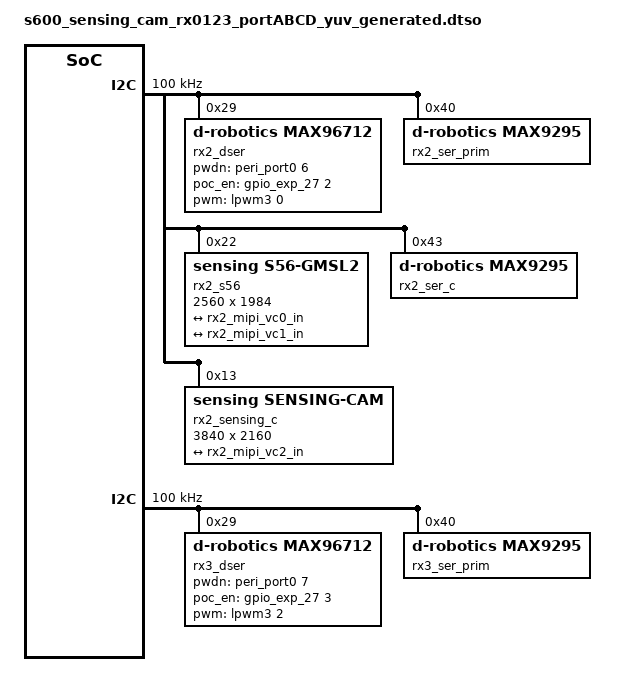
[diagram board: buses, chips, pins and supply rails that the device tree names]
// SPDX-License-Identifier: GPL-2.0
/*
 * D-Robotics S600: 16-channel sensing camera overlay
 *
 * RX0..RX3 each connect one MAX96712. Each MAX96712 uses Port A..D
 * and transports four YUV422 streams on VC0..VC3.
 *
 * RX1 board resources are inferred from the RX0/RX2/RX3 numbering pattern:
 *   PWDN peri_port0[5], PoC gpio_exp_27[1], PWM lpwm0 channel 2.
 * Verify these three assignments against the S600 MCB schematic before use.
 */

#include <dt-bindings/gpio/gpio.h>

/dts-v1/;
/plugin/;

/ {
	fragment@0 {
		target-path = "/soc/i2c@34840000/"; /* I2C0 */
		__overlay__ {
			status = "disabled";
			clock-frequency = <100000>;

			rx0_dser: rx0_max96712@29 {
				compatible = "d-robotics,max96712";
				reg = <0x29>;
				phy_type = <0>; /* D-PHY */
				phy_speed = <2500>; /* 2.5 Gbps per lane */
				sensing,trigger-period-ns = <33333333>;
				sensing,trigger-duty-ns = <10000>;
				pwdn-gpios = <&peri_port0 4 GPIO_ACTIVE_HIGH>;
				poc_en-gpios = <&gpio_exp_27 0 GPIO_ACTIVE_HIGH>;
				soc_trig_pin = <5>;
				pwms = <&lpwm0 0 33333000 20000>;
				pwm-names = "sync";
				trig_src = <0>;
				trig_mode = <1>;
				status = "okay";
			};

			rx0_ser_prim: rx0_max9295_prim@40 {
				compatible = "d-robotics,max9295";
				reg = <0x40>;
				is-prim-ser;
				rx_index = <0>;
				status = "okay";
			};

			rx0_ser_a: rx0_max9295_a@41 {
				compatible = "d-robotics,max9295";
				reg = <0x41>;
				link-port = <0>;
				rx_index = <0>;
				status = "okay";
			};

			rx0_sensing_a@11 {
				compatible = "sensing,sensing-cam";
				reg = <0x11>;
				addr = <0x10>;
				width = <3840>;
				height = <2160>;
				data_type = <0x1e>;
				gmsl-link-rate = <6>;
				lane_num = <4>;
				mfp-reset = <0>;
				mfp-trigger = <7>;
				d-robotics,serdes-ser-device = <&rx0_ser_a>;
				d-robotics,serdes-dser-device = <&rx0_dser>;
				status = "okay";

				port {
					rx0_sensor_a_out: endpoint {
						remote-endpoint = <&rx0_mipi_vc0_in>;
						virtual-channel = <0>;
					};
				};
			};

			rx0_ser_b: rx0_max9295_b@42 {
				compatible = "d-robotics,max9295";
				reg = <0x42>;
				link-port = <1>;
				rx_index = <0>;
				status = "okay";
			};

			rx0_sensing_b@12 {
				compatible = "sensing,sensing-cam";
				reg = <0x12>;
				addr = <0x10>;
				width = <1920>;
				height = <1080>;
				data_type = <0x1e>;
				gmsl-link-rate = <6>;
				lane_num = <4>;
				mfp-reset = <0>;
				mfp-trigger = <7>;
				d-robotics,serdes-ser-device = <&rx0_ser_b>;
				d-robotics,serdes-dser-device = <&rx0_dser>;
				status = "okay";

				port {
					rx0_sensor_b_out: endpoint {
						remote-endpoint = <&rx0_mipi_vc1_in>;
						virtual-channel = <1>;
					};
				};
			};

			rx0_ser_c: rx0_max9295_c@43 {
				compatible = "d-robotics,max9295";
				reg = <0x43>;
				link-port = <2>;
				rx_index = <0>;
				status = "okay";
			};

			rx0_sensing_c@13 {
				compatible = "sensing,sensing-cam";
				reg = <0x13>;
				addr = <0x10>;
				width = <1920>;
				height = <1536>;
				data_type = <0x1e>;
				gmsl-link-rate = <3>;
				lane_num = <4>;
				mfp-reset = <0>;
				mfp-trigger = <7>;
				d-robotics,serdes-ser-device = <&rx0_ser_c>;
				d-robotics,serdes-dser-device = <&rx0_dser>;
				status = "okay";

				port {
					rx0_sensor_c_out: endpoint {
						remote-endpoint = <&rx0_mipi_vc2_in>;
						virtual-channel = <2>;
					};
				};
			};

			rx0_ser_d: rx0_max9295_d@44 {
				compatible = "d-robotics,max9295";
				reg = <0x44>;
				link-port = <3>;
				rx_index = <0>;
				status = "okay";
			};

			rx0_sensing_d@14 {
				compatible = "sensing,sensing-cam";
				reg = <0x14>;
				addr = <0x10>;
				width = <1920>;
				height = <1080>;
				data_type = <0x1e>;
				gmsl-link-rate = <6>;
				lane_num = <4>;
				mfp-reset = <0>;
				mfp-trigger = <7>;
				d-robotics,serdes-ser-device = <&rx0_ser_d>;
				d-robotics,serdes-dser-device = <&rx0_dser>;
				status = "okay";

				port {
					rx0_sensor_d_out: endpoint {
						remote-endpoint = <&rx0_mipi_vc3_in>;
						virtual-channel = <3>;
					};
				};
			};
		};
	};

	fragment@1 {
		target-path = "/soc/i2c@34841000/"; /* I2C1 */
		__overlay__ {
			status = "disabled";
			clock-frequency = <100000>;

			rx1_dser: rx1_max96712@29 {
				compatible = "d-robotics,max96712";
				reg = <0x29>;
				phy_type = <1>; /* C-PHY */
				phy_speed = <3648>; /* C-PHY 1600 Msps/trio: DPLL code 0x10 */
				sensing,trigger-period-ns = <33333333>;
				sensing,trigger-duty-ns = <10000>;
				pwdn-gpios = <&peri_port0 5 GPIO_ACTIVE_HIGH>;
				poc_en-gpios = <&gpio_exp_27 1 GPIO_ACTIVE_HIGH>;
				soc_trig_pin = <5>;
				pwms = <&lpwm0 2 33333000 20000>;
				pwm-names = "sync";
				trig_src = <0>;
				trig_mode = <1>;
				status = "okay";
			};

			rx1_ser_prim: rx1_max9295_prim@40 {
				compatible = "d-robotics,max9295";
				reg = <0x40>;
				is-prim-ser;
				rx_index = <1>;
				status = "okay";
			};

			rx1_ser_a: rx1_max9295_a@41 {
				compatible = "d-robotics,max9295";
				reg = <0x41>;
				link-port = <0>;
				rx_index = <1>;
				status = "okay";
			};

			rx1_sensing_a@11 {
				compatible = "sensing,sensing-cam";
				reg = <0x11>;
				addr = <0x10>;
				width = <1920>;
				height = <1080>;
				data_type = <0x1e>;
				gmsl-link-rate = <6>;
				lane_num = <4>;
				mfp-reset = <0>;
				mfp-trigger = <7>;
				stereo_left; 
				d-robotics,serdes-ser-device = <&rx1_ser_a>;
				d-robotics,serdes-dser-device = <&rx1_dser>;
				status = "okay";

				port {
					rx1_sensor_a_out: endpoint {
						remote-endpoint = <&rx1_mipi_vc0_in>;
						virtual-channel = <0>;
					};
				};
			};

			rx1_ser_b: rx1_max9295_b@42 {
				compatible = "d-robotics,max9295";
				reg = <0x42>;
				link-port = <1>;
				rx_index = <1>;
				status = "okay";
			};

			rx1_sensing_b@12 {
				compatible = "sensing,sensing-cam";
				reg = <0x12>;
				addr = <0x10>;
				width = <1920>;
				height = <1080>;
				data_type = <0x1e>;
				gmsl-link-rate = <6>;
				lane_num = <4>;
				mfp-reset = <0>;
				mfp-trigger = <7>;
				stereo_right; 
				d-robotics,serdes-ser-device = <&rx1_ser_b>;
				d-robotics,serdes-dser-device = <&rx1_dser>;
				status = "okay";

				port {
					rx1_sensor_b_out: endpoint {
						remote-endpoint = <&rx1_mipi_vc1_in>;
						virtual-channel = <1>;
					};
				};
			};

			rx1_ser_c: rx1_max9295_c@43 {
				compatible = "d-robotics,max9295";
				reg = <0x43>;
				link-port = <2>;
				rx_index = <1>;
				status = "okay";
			};

			rx1_sensing_c@13 {
				compatible = "sensing,sensing-cam";
				reg = <0x13>;
				addr = <0x10>;
				width = <1920>;
				height = <1080>;
				data_type = <0x1e>;
				gmsl-link-rate = <6>;
				lane_num = <4>;
				mfp-reset = <0>;
				mfp-trigger = <7>;
				d-robotics,serdes-ser-device = <&rx1_ser_c>;
				d-robotics,serdes-dser-device = <&rx1_dser>;
				status = "okay";

				port {
					rx1_sensor_c_out: endpoint {
						remote-endpoint = <&rx1_mipi_vc2_in>;
						virtual-channel = <2>;
					};
				};
			};

			rx1_ser_d: rx1_max9295_d@44 {
				compatible = "d-robotics,max9295";
				reg = <0x44>;
				link-port = <3>;
				rx_index = <1>;
				status = "okay";
			};

			rx1_sensing_d@14 {
				compatible = "sensing,sensing-cam";
				reg = <0x14>;
				addr = <0x10>;
				width = <1920>;
				height = <1080>;
				data_type = <0x1e>;
				gmsl-link-rate = <6>;
				lane_num = <4>;
				mfp-reset = <0>;
				mfp-trigger = <7>;
				d-robotics,serdes-ser-device = <&rx1_ser_d>;
				d-robotics,serdes-dser-device = <&rx1_dser>;
				status = "okay";

				port {
					rx1_sensor_d_out: endpoint {
						remote-endpoint = <&rx1_mipi_vc3_in>;
						virtual-channel = <3>;
					};
				};
			};
		};
	};

	fragment@2 {
		target-path = "/soc/i2c@34842000/"; /* I2C2 */
		__overlay__ {
			status = "okay";
			clock-frequency = <100000>;

			rx2_dser: rx2_max96712@29 {
				compatible = "d-robotics,max96712";
				reg = <0x29>;
				phy_type = <0>; /* D-PHY */
				phy_speed = <2500>; /* 2.5 Gbps per lane */
				sensing,trigger-period-ns = <33333333>;
				sensing,trigger-duty-ns = <10000>;
				pwdn-gpios = <&peri_port0 6 GPIO_ACTIVE_HIGH>;
				poc_en-gpios = <&gpio_exp_27 2 GPIO_ACTIVE_HIGH>;
				soc_trig_pin = <5>;
				pwms = <&lpwm3 0 33333333 10000>;
				pwm-names = "sync";
				trig_src = <0>;
				trig_mode = <0>;
				status = "okay";
			};

			rx2_ser_prim: rx2_max9295_prim@40 {
				compatible = "d-robotics,max9295";
				reg = <0x40>;
				is-prim-ser;
				rx_index = <2>;
				status = "okay";
			};

			rx2_ser_a: rx2_max9295_a@41 {
				compatible = "d-robotics,max9295";
				reg = <0x41>;
				link-port = <0>;
				rx_index = <2>;
				status = "disabled";
			};
			rx2_s56@22 {
				compatible = "sensing,s56-gmsl2";
				reg = <0x22>;
				link-port = <0>;
				gmsl-link-rate = <6>;
				width = <2560>;
				height = <1984>;
				sensing,sensor-default-addresses = <0x10 0x11>;
				sensing,sensor-alias-addresses = <0x22 0x23>;
				sensing,serializer-alias = <0x41>;
				sensing,stream-pipes = <0 1>;
				sensing,stream-dst-vcs = <0 1>;
				sensing,trigger-mode = <1>;
				sensing,trigger-mfp = <7>;
				sensing,trigger-gpio-id = <7>;
				sensing,trigger-period-ns = <33333333>;
				sensing,trigger-duty-ns = <10000>;
				d-robotics,serdes-dser-device = <&rx2_dser>;
				status = "okay";

				ports {
					#address-cells = <1>;
					#size-cells = <0>;
					port@0 {
						reg = <0>;
						rx2_sensor_a_out_0: endpoint {
							remote-endpoint = <&rx2_mipi_vc0_in>;
							virtual-channel = <0>;
						};
					};
					port@1 {
						reg = <1>;
						rx2_sensor_a_out_1: endpoint {
							remote-endpoint = <&rx2_mipi_vc1_in>;
							virtual-channel = <1>;
						};
					};
				};
			};

			rx2_ser_b: rx2_max9295_b@42 {
				compatible = "d-robotics,max9295";
				reg = <0x42>;
				link-port = <1>;
				rx_index = <2>;
				status = "disabled";
			};

			rx2_sensing_b@12 {
				compatible = "sensing,sensing-cam";
				reg = <0x12>;
				addr = <0x10>;
				width = <1920>;
				height = <1080>;
				data_type = <0x1e>;
				gmsl-link-rate = <6>;
				lane_num = <4>;
				mfp-reset = <0>;
				mfp-trigger = <7>;
				d-robotics,serdes-ser-device = <&rx2_ser_b>;
				d-robotics,serdes-dser-device = <&rx2_dser>;
				status = "disabled";

				port {
					rx2_sensor_b_out: endpoint {
						virtual-channel = <1>;
					};
				};
			};

			rx2_ser_c: rx2_max9295_c@43 {
				compatible = "d-robotics,max9295";
				reg = <0x43>;
				link-port = <2>;
				rx_index = <2>;
				status = "okay";
			};

			rx2_sensing_c@13 {
				compatible = "sensing,sensing-cam";
				sensing,model = "SG8-OX08DC-5300-G2G-Hxxx";
				reg = <0x13>;
				addr = <0x10>;
				width = <3840>;
				height = <2160>;
				data_type = <0x1e>;
				gmsl-link-rate = <6>;
				lane_num = <4>;
				mfp-reset = <0>;
				mfp-trigger = <7>;
				d-robotics,serdes-ser-device = <&rx2_ser_c>;
				d-robotics,serdes-dser-device = <&rx2_dser>;
				status = "okay";

				port {
					rx2_sensor_c_out: endpoint {
						remote-endpoint = <&rx2_mipi_vc2_in>;
						virtual-channel = <2>;
					};
				};
			};

			rx2_ser_d: rx2_max9295_d@44 {
				compatible = "d-robotics,max9295";
				reg = <0x44>;
				link-port = <3>;
				rx_index = <2>;
				status = "disabled";
			};

			rx2_sensing_d@14 {
				compatible = "sensing,sensing-cam";
				reg = <0x14>;
				addr = <0x10>;
				width = <1920>;
				height = <1080>;
				data_type = <0x1e>;
				gmsl-link-rate = <6>;
				lane_num = <4>;
				mfp-reset = <0>;
				mfp-trigger = <7>;
				d-robotics,serdes-ser-device = <&rx2_ser_d>;
				d-robotics,serdes-dser-device = <&rx2_dser>;
				status = "disabled";

				port {
					rx2_sensor_d_out: endpoint {
						virtual-channel = <3>;
					};
				};
			};
		};
	};

	fragment@3 {
		target-path = "/soc/i2c@34843000/"; /* I2C3 */
		__overlay__ {
			status = "okay";
			clock-frequency = <100000>;

			rx3_dser: rx3_max96712@29 {
				compatible = "d-robotics,max96712";
				reg = <0x29>;
				phy_type = <1>; /* C-PHY */
				phy_speed = <3648>; /* C-PHY 1600 Msps/trio: DPLL code 0x10 */
				sensing,trigger-period-ns = <33333333>;
				sensing,trigger-duty-ns = <10000>;
				pwdn-gpios = <&peri_port0 7 GPIO_ACTIVE_HIGH>;
				poc_en-gpios = <&gpio_exp_27 3 GPIO_ACTIVE_HIGH>;
				soc_trig_pin = <5>;
				pwms = <&lpwm3 2 33333333 10000>;
				pwm-names = "sync";
				trig_src = <0>;
				trig_mode = <1>;
				status = "okay";
			};

			rx3_ser_prim: rx3_max9295_prim@40 {
				compatible = "d-robotics,max9295";
				reg = <0x40>;
				is-prim-ser;
				rx_index = <3>;
				status = "okay";
			};

			rx3_ser_a: rx3_max9295_a@41 {
				compatible = "d-robotics,max9295";
				reg = <0x41>;
				link-port = <0>;
				rx_index = <3>;
				status = "disabled";
			};

			rx3_sensing_a@11 {
				compatible = "sensing,sensing-cam";
				reg = <0x11>;
				addr = <0x10>;
				width = <1920>;
				height = <1080>;
				data_type = <0x1e>;
				gmsl-link-rate = <6>;
				lane_num = <4>;
				mfp-reset = <0>;
				mfp-trigger = <7>;
				d-robotics,serdes-ser-device = <&rx3_ser_a>;
				d-robotics,serdes-dser-device = <&rx3_dser>;
				status = "disabled";

				port {
					rx3_sensor_a_out: endpoint {
						virtual-channel = <0>;
					};
				};
			};

			rx3_ser_b: rx3_max9295_b@42 {
				compatible = "d-robotics,max9295";
				reg = <0x42>;
				link-port = <1>;
				rx_index = <3>;
				status = "disabled";
			};

			rx3_sensing_b@12 {
				compatible = "sensing,sensing-cam";
				reg = <0x12>;
				addr = <0x10>;
				width = <1920>;
				height = <1080>;
				data_type = <0x1e>;
				gmsl-link-rate = <6>;
				lane_num = <4>;
				mfp-reset = <0>;
				mfp-trigger = <7>;
				d-robotics,serdes-ser-device = <&rx3_ser_b>;
				d-robotics,serdes-dser-device = <&rx3_dser>;
				status = "disabled";

				port {
					rx3_sensor_b_out: endpoint {
						virtual-channel = <1>;
					};
				};
			};

			rx3_ser_c: rx3_max9295_c@43 {
				compatible = "d-robotics,max9295";
				reg = <0x43>;
				link-port = <2>;
				rx_index = <3>;
				status = "disabled";
			};

			rx3_sensing_c@13 {
				compatible = "sensing,sensing-cam";
				reg = <0x13>;
				addr = <0x10>;
				width = <1920>;
				height = <1080>;
				data_type = <0x1e>;
				gmsl-link-rate = <6>;
				lane_num = <4>;
				mfp-reset = <0>;
				mfp-trigger = <7>;
				d-robotics,serdes-ser-device = <&rx3_ser_c>;
				d-robotics,serdes-dser-device = <&rx3_dser>;
				status = "disabled";

				port {
					rx3_sensor_c_out: endpoint {
						virtual-channel = <2>;
					};
				};
			};

			rx3_ser_d: rx3_max9295_d@44 {
				compatible = "d-robotics,max9295";
				reg = <0x44>;
				link-port = <3>;
				rx_index = <3>;
				status = "disabled";
			};

			rx3_sensing_d@14 {
				compatible = "sensing,sensing-cam";
				reg = <0x14>;
				addr = <0x10>;
				width = <1920>;
				height = <1080>;
				data_type = <0x1e>;
				gmsl-link-rate = <6>;
				lane_num = <4>;
				mfp-reset = <0>;
				mfp-trigger = <7>;
				d-robotics,serdes-ser-device = <&rx3_ser_d>;
				d-robotics,serdes-dser-device = <&rx3_dser>;
				status = "disabled";

				port {
					rx3_sensor_d_out: endpoint {
						virtual-channel = <3>;
					};
				};
			};
		};
	};

	fragment@4 {
		target-path = "/soc/cim@0x37430000/"; /* CIM0 */
		__overlay__ {
			status = "okay";
		};
	};

	fragment@5 {
		target-path = "/soc/cim@0x37630000/"; /* CIM1 */
		__overlay__ {
			status = "okay";
		};
	};

	fragment@6 {
		target-path = "/soc/cim@0x37830000/"; /* CIM2 */
		__overlay__ {
			status = "okay";
		};
	};

	fragment@7 {
		target-path = "/soc/cim@0x37A30000/"; /* CIM3 */
		__overlay__ {
			status = "okay";
		};
	};

	fragment@8 {
		target-path = "/soc/mipi_host@0x37420000/"; /* MIPI RX0 */
		__overlay__ {
			status = "okay";
			ports {
				port@0 {
					rx0_mipi_vc0_in: endpoint {
						remote-endpoint = <&rx0_sensor_a_out>;
						clock-lanes = <0>;
						data-lanes = <1 2 3 4>;
						lane-rate = <10000>;
						vc_id = <0>;
						emb-en = <0>;
					};
				};
				port@1 {
					rx0_mipi_vc1_in: endpoint {
						remote-endpoint = <&rx0_sensor_b_out>;
						clock-lanes = <0>;
						data-lanes = <1 2 3 4>;
						lane-rate = <10000>;
						vc_id = <1>;
						emb-en = <0>;
					};
				};
				port@2 {
					rx0_mipi_vc2_in: endpoint {
						remote-endpoint = <&rx0_sensor_c_out>;
						clock-lanes = <0>;
						data-lanes = <1 2 3 4>;
						lane-rate = <10000>;
						vc_id = <2>;
						emb-en = <0>;
					};
				};
				port@3 {
					rx0_mipi_vc3_in: endpoint {
						remote-endpoint = <&rx0_sensor_d_out>;
						clock-lanes = <0>;
						data-lanes = <1 2 3 4>;
						lane-rate = <10000>;
						vc_id = <3>;
						emb-en = <0>;
					};
				};
			};
		};
	};

	fragment@9 {
		target-path = "/soc/mipi_host@0x37620000/"; /* MIPI RX1 */
		__overlay__ {
			status = "okay";
			ports {
				port@0 {
					rx1_mipi_vc0_in: endpoint {
						remote-endpoint = <&rx1_sensor_a_out>;
						clock-lanes = <0>;
						data-lanes = <1 2 3>;
						lane-rate = <4800>;
						phy_type = <1>; /* C-PHY */
						vc_id = <0>;
						emb-en = <0>;
					};
				};
				port@1 {
					rx1_mipi_vc1_in: endpoint {
						remote-endpoint = <&rx1_sensor_b_out>;
						clock-lanes = <0>;
						data-lanes = <1 2 3>;
						lane-rate = <4800>;
						phy_type = <1>; /* C-PHY */
						vc_id = <1>;
						emb-en = <0>;
					};
				};
				port@2 {
					rx1_mipi_vc2_in: endpoint {
						remote-endpoint = <&rx1_sensor_c_out>;
						clock-lanes = <0>;
						data-lanes = <1 2 3>;
						lane-rate = <4800>;
						phy_type = <1>; /* C-PHY */
						vc_id = <2>;
						emb-en = <0>;
					};
				};
				port@3 {
					rx1_mipi_vc3_in: endpoint {
						remote-endpoint = <&rx1_sensor_d_out>;
						clock-lanes = <0>;
						data-lanes = <1 2 3>;
						lane-rate = <4800>;
						phy_type = <1>; /* C-PHY */
						vc_id = <3>;
						emb-en = <0>;
					};
				};
			};
		};
	};

	fragment@10 {
		target-path = "/soc/mipi_host@0x37820000/"; /* MIPI RX2 */
		__overlay__ {
			status = "okay";
			ports {
				port@0 {
					rx2_mipi_vc0_in: endpoint {
						remote-endpoint = <&rx2_sensor_a_out_0>;
						clock-lanes = <0>;
						data-lanes = <1 2 3 4>;
						lane-rate = <10000>;
						vc_id = <0>;
						emb-en = <0>;
					};
				};
				port@1 {
					rx2_mipi_vc1_in: endpoint {
						remote-endpoint = <&rx2_sensor_a_out_1>;
						clock-lanes = <0>;
						data-lanes = <1 2 3 4>;
						lane-rate = <10000>;
						vc_id = <1>;
						emb-en = <0>;
					};
				};
				port@2 {
					rx2_mipi_vc2_in: endpoint {
						remote-endpoint = <&rx2_sensor_c_out>;
						clock-lanes = <0>;
						data-lanes = <1 2 3 4>;
						lane-rate = <10000>;
						vc_id = <2>;
						emb-en = <0>;
					};
				};
				port@3 {
					rx2_mipi_vc3_in: endpoint {
						clock-lanes = <0>;
						data-lanes = <1 2 3 4>;
						lane-rate = <10000>;
						vc_id = <3>;
						emb-en = <0>;
					};
				};
			};
		};
	};

	fragment@11 {
		target-path = "/soc/mipi_host@0x37A20000/"; /* MIPI RX3 */
		__overlay__ {
			status = "okay";
			ports {
				port@0 {
					rx3_mipi_vc0_in: endpoint {
						clock-lanes = <0>;
						data-lanes = <1 2 3>;
						lane-rate = <4800>;
						phy_type = <1>; /* C-PHY */
						vc_id = <0>;
						emb-en = <0>;
					};
				};
				port@1 {
					rx3_mipi_vc1_in: endpoint {
						clock-lanes = <0>;
						data-lanes = <1 2 3>;
						lane-rate = <4800>;
						phy_type = <1>; /* C-PHY */
						vc_id = <1>;
						emb-en = <0>;
					};
				};
				port@2 {
					rx3_mipi_vc2_in: endpoint {
						clock-lanes = <0>;
						data-lanes = <1 2 3>;
						lane-rate = <4800>;
						phy_type = <1>; /* C-PHY */
						vc_id = <2>;
						emb-en = <0>;
					};
				};
				port@3 {
					rx3_mipi_vc3_in: endpoint {
						clock-lanes = <0>;
						data-lanes = <1 2 3>;
						lane-rate = <4800>;
						phy_type = <1>; /* C-PHY */
						vc_id = <3>;
						emb-en = <0>;
					};
				};
			};
		};
	};

};
